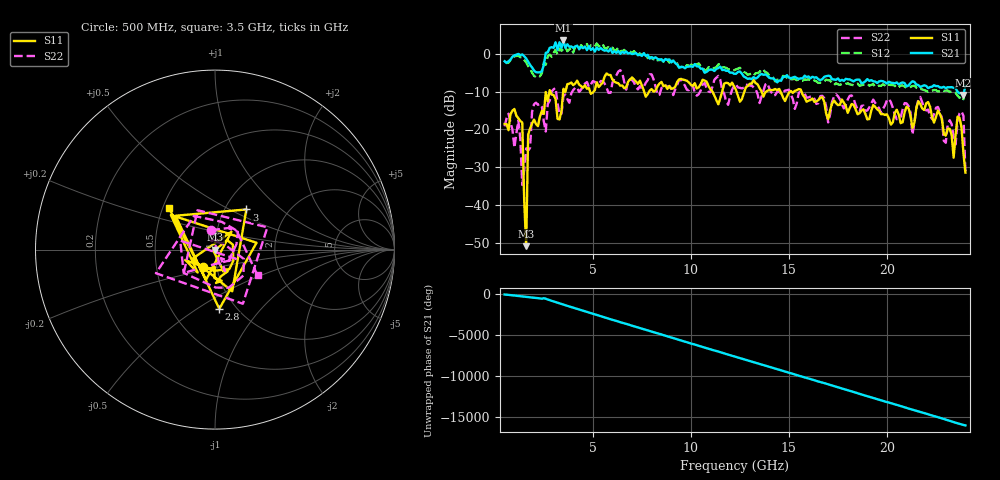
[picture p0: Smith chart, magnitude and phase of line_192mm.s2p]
!Created with skrf (http://scikit-rf.org).
# GHz S RI R 50.0
!freq ReS11 ImS11 ReS21 ImS21 ReS12 ImS12 ReS22 ImS22
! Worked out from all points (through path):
!   236 points, 500 MHz to 24 GHz, reference 50 ohm
!   highest |S21| = 3.51 dB at 3.5 GHz (marker M1); lowest = -10.9 dB at 23.9 GHz (marker M2)
!   lowest |S11| = -50.9 dB at 1.6 GHz (marker M3), VSWR 1.01, Z = 50.3 - j0.112 ohm
!   |S11| at or under -10 dB: start of sweep to 2.787 GHz; 2.834 GHz to 3.487 GHz (652.9 MHz wide, 20.7 % of centre); 15.64 GHz to end of sweep (the widest 3 of 12)
!   |S22| runs from -34.7 to -4.4 dB; largest |S21 - S12| = 2.5
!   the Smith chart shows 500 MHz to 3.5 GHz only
!   S11 on the Smith chart (normalised r, x): 500 MHz: 0.86, -0.17; 2.8 GHz: 0.84, -0.62; 3 GHz: 1.26, +0.61; 3.5 GHz: 0.54, +0.28
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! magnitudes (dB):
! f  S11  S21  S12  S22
! 500 MHz  -18.6  -2.0  -1.9  -19.2
! 1.2 GHz  -17.1  0.0  -0.5  -17.6
! 1.4 GHz  -18.1  -0.2  -0.9  -34.7
! 1.6 GHz  -50.9  -1.2  -2.3  -25.0
! 1.7 GHz  -21.4  -2.1  -3.3  -25.6
! 2 GHz  -17.4  -4.4  -5.8  -13.4
! 2.6 GHz  -10.1  0.2  -2.9  -20.6
! 2.8 GHz  -9.6  1.6  -0.2  -12.4
! 3 GHz  -10.9  1.6  0.2  -9.4
! 3.5 GHz  -9.2  3.5  1.2  -11.1
! 4.5 GHz  -9.0  1.5  1.7  -8.5
! 8.4 GHz  -7.9  -1.5  -1.7  -10.8
! 12.3 GHz  -9.6  -5.3  -4.1  -8.2
! 16.2 GHz  -11.8  -6.1  -7.3  -11.3
! 20.1 GHz  -17.1  -7.4  -8.2  -11.9
! 21.3 GHz  -19.6  -7.3  -8.5  -21.3
! 22.1 GHz  -12.8  -9.1  -10.1  -14.8
! 23 GHz  -21.6  -9.1  -9.7  -23.5
! 23.4 GHz  -27.5  -9.0  -10.0  -22.0
! 23.7 GHz  -17.0  -10.5  -11.7  -15.8
! 23.9 GHz  -26.2  -10.9  -12.0  -16.4
! 24 GHz  -31.4  -8.4  -9.7  -31.2
